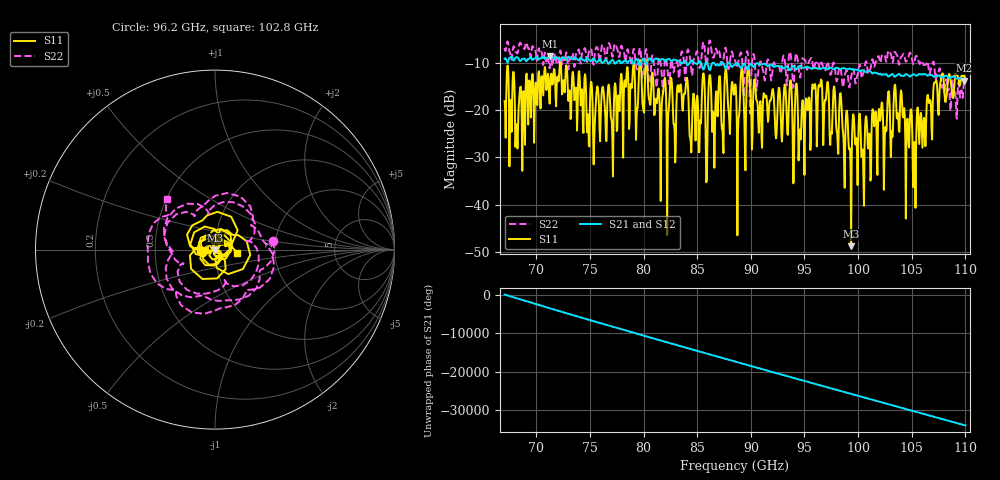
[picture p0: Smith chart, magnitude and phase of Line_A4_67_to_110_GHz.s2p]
#  HZ  S  MA  R  50.00
! Rohde & Schwarz ZVA67 4Ports - Version 4.11 - 1305.7002k04 SN: 101051
! Date: 2023-09-13 17:23:36
! Measurements: S11 S21 S12 S22
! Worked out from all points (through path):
!   860 points, 67.05 GHz to 110 GHz, reference 50 ohm
!   highest |S21| = -8.60 dB at 71.25 GHz (marker M1); lowest = -13.7 dB at 109.9 GHz (marker M2)
!   lowest |S11| = -48.8 dB at 99.35 GHz (marker M3), VSWR 1.01, Z = 50.1 - j0.36 ohm
!   |S11| at or under -10 dB: start of sweep to 72.21 GHz; 72.27 GHz to 79.64 GHz (7.367 GHz wide, 9.7 % of centre); 80.31 GHz to end of sweep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
!   |S22| runs from -21.8 to -5.3 dB; largest |S21 - S12| = 0.037
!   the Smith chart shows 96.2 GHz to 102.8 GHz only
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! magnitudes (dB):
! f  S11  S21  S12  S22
! 67.05 GHz  -18.1  -9.1  -9.1  -6.8
! 68.2 GHz  -24.9  -8.8  -8.8  -7.9
! 71.25 GHz  -18.6  -8.6  -8.6  -11.2
! 74.25 GHz  -15.6  -9.2  -9.2  -8.3
! 77.05 GHz  -22.8  -9.4  -9.4  -8.3
! 80.3 GHz  -9.7  -10.2  -10.2  -7.6
! 81.4 GHz  -15.4  -9.5  -9.4  -9.4
! 83.95 GHz  -14.5  -9.9  -9.8  -11.9
! 85.9 GHz  -34.6  -9.9  -9.9  -10.5
! 87.7 GHz  -11.5  -11.0  -11.0  -7.3
! 88.55 GHz  -14.6  -10.4  -10.4  -9.5
! 89.8 GHz  -11.2  -11.0  -11.0  -10.1
! 90.9 GHz  -18.1  -10.4  -10.4  -9.7
! 95.7 GHz  -15.6  -11.3  -11.3  -9.2
! 98.4 GHz  -17.0  -11.3  -11.3  -11.5
! 99.35 GHz  -48.8  -11.3  -11.3  -12.9
! 102.8 GHz  -16.0  -12.9  -12.9  -7.4
! 104.2 GHz  -21.1  -12.8  -12.7  -8.4
! 105.2 GHz  -26.7  -12.5  -12.5  -9.8
! 107.2 GHz  -14.1  -12.9  -12.8  -13.3
! 109.9 GHz  -12.7  -13.7  -13.7  -13.1
! 110 GHz  -13.9  -13.6  -13.6  -14.3
